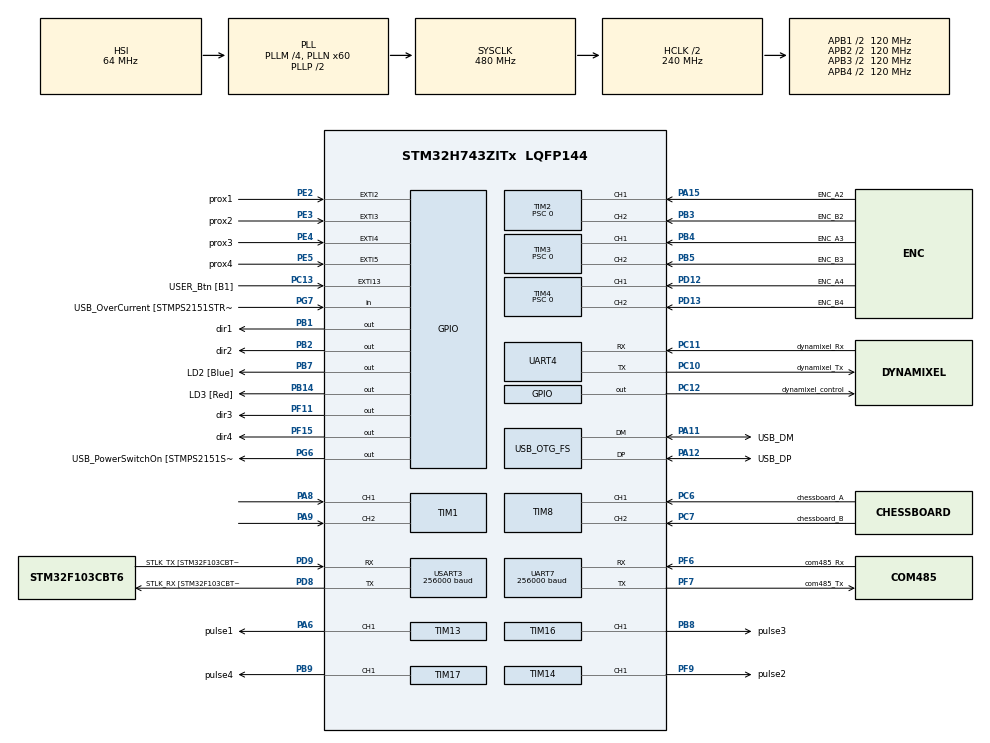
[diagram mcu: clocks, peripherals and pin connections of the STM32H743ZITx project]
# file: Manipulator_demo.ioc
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Dma.Request0=UART4_RX
Dma.Request1=UART4_TX
Dma.Request2=USART3_RX
Dma.Request3=USART3_TX
Dma.UART4_RX.0.Direction=DMA_PERIPH_TO_MEMORY
Dma.UART4_RX.0.EventEnable=DISABLE
Dma.UART4_RX.0.FIFOMode=DMA_FIFOMODE_DISABLE
Dma.UART4_RX.0.Instance=DMA1_Stream2
Dma.UART4_RX.0.MemDataAlignment=DMA_MDATAALIGN_BYTE
Dma.UART4_RX.0.MemInc=DMA_MINC_ENABLE
Dma.UART4_RX.0.Mode=DMA_CIRCULAR
Dma.UART4_RX.0.PeriphDataAlignment=DMA_PDATAALIGN_BYTE
Dma.UART4_RX.0.PeriphInc=DMA_PINC_DISABLE
Dma.UART4_RX.0.Polarity=HAL_DMAMUX_REQ_GEN_RISING
Dma.UART4_RX.0.Priority=DMA_PRIORITY_LOW
Dma.UART4_RX.0.RequestNumber=1
Dma.UART4_RX.0.SignalID=NONE
Dma.UART4_RX.0.SyncEnable=DISABLE
Dma.UART4_RX.0.SyncPolarity=HAL_DMAMUX_SYNC_NO_EVENT
Dma.UART4_RX.0.SyncRequestNumber=1
Dma.UART4_RX.0.SyncSignalID=NONE
Dma.UART4_TX.1.Direction=DMA_MEMORY_TO_PERIPH
Dma.UART4_TX.1.EventEnable=DISABLE
Dma.UART4_TX.1.FIFOMode=DMA_FIFOMODE_DISABLE
Dma.UART4_TX.1.Instance=DMA1_Stream3
Dma.UART4_TX.1.MemDataAlignment=DMA_MDATAALIGN_BYTE
Dma.UART4_TX.1.MemInc=DMA_MINC_ENABLE
Dma.UART4_TX.1.Mode=DMA_NORMAL
Dma.UART4_TX.1.PeriphDataAlignment=DMA_PDATAALIGN_BYTE
Dma.UART4_TX.1.PeriphInc=DMA_PINC_DISABLE
Dma.UART4_TX.1.Polarity=HAL_DMAMUX_REQ_GEN_RISING
Dma.UART4_TX.1.Priority=DMA_PRIORITY_LOW
Dma.UART4_TX.1.RequestNumber=1
Dma.UART4_TX.1.SignalID=NONE
Dma.UART4_TX.1.SyncEnable=DISABLE
Dma.UART4_TX.1.SyncPolarity=HAL_DMAMUX_SYNC_NO_EVENT
Dma.UART4_TX.1.SyncRequestNumber=1
Dma.UART4_TX.1.SyncSignalID=NONE
Dma.USART3_RX.2.Direction=DMA_PERIPH_TO_MEMORY
Dma.USART3_RX.2.EventEnable=DISABLE
Dma.USART3_RX.2.FIFOMode=DMA_FIFOMODE_DISABLE
Dma.USART3_RX.2.Instance=DMA1_Stream4
Dma.USART3_RX.2.MemDataAlignment=DMA_MDATAALIGN_BYTE
Dma.USART3_RX.2.MemInc=DMA_MINC_ENABLE
Dma.USART3_RX.2.Mode=DMA_CIRCULAR
Dma.USART3_RX.2.PeriphDataAlignment=DMA_PDATAALIGN_BYTE
Dma.USART3_RX.2.PeriphInc=DMA_PINC_DISABLE
Dma.USART3_RX.2.Polarity=HAL_DMAMUX_REQ_GEN_RISING
Dma.USART3_RX.2.Priority=DMA_PRIORITY_LOW
Dma.USART3_RX.2.RequestNumber=1
Dma.USART3_RX.2.SignalID=NONE
Dma.USART3_RX.2.SyncEnable=DISABLE
Dma.USART3_RX.2.SyncPolarity=HAL_DMAMUX_SYNC_NO_EVENT
Dma.USART3_RX.2.SyncRequestNumber=1
Dma.USART3_RX.2.SyncSignalID=NONE
Dma.USART3_TX.3.Direction=DMA_MEMORY_TO_PERIPH
Dma.USART3_TX.3.EventEnable=DISABLE
Dma.USART3_TX.3.FIFOMode=DMA_FIFOMODE_DISABLE
Dma.USART3_TX.3.Instance=DMA1_Stream5
Dma.USART3_TX.3.MemDataAlignment=DMA_MDATAALIGN_BYTE
Dma.USART3_TX.3.MemInc=DMA_MINC_ENABLE
Dma.USART3_TX.3.Mode=DMA_NORMAL
Dma.USART3_TX.3.PeriphDataAlignment=DMA_PDATAALIGN_BYTE
Dma.USART3_TX.3.PeriphInc=DMA_PINC_DISABLE
Dma.USART3_TX.3.Polarity=HAL_DMAMUX_REQ_GEN_RISING
Dma.USART3_TX.3.Priority=DMA_PRIORITY_LOW
Dma.USART3_TX.3.RequestNumber=1
Dma.USART3_TX.3.SignalID=NONE
Dma.USART3_TX.3.SyncEnable=DISABLE
Dma.USART3_TX.3.SyncPolarity=HAL_DMAMUX_SYNC_NO_EVENT
Dma.USART3_TX.3.SyncRequestNumber=1
Dma.USART3_TX.3.SyncSignalID=NONE
Mcu.Family=STM32H7
Mcu.Name=STM32H743ZITx
Mcu.Package=LQFP144
NVIC.DMA1_Stream2_IRQn=true\:0\:0\:false\:false\:true\:false\:true
NVIC.DMA1_Stream3_IRQn=true\:0\:0\:false\:false\:true\:false\:true
NVIC.DMA1_Stream4_IRQn=true\:0\:0\:false\:false\:true\:false\:true
NVIC.DMA1_Stream5_IRQn=true\:0\:0\:false\:false\:true\:false\:true
NVIC.EXTI2_IRQn=true\:0\:0\:false\:false\:true\:true\:true
NVIC.EXTI3_IRQn=true\:0\:0\:false\:false\:true\:true\:true
NVIC.EXTI4_IRQn=true\:0\:0\:false\:false\:true\:true\:true
NVIC.EXTI9_5_IRQn=true\:0\:0\:false\:false\:true\:true\:true
NVIC.PriorityGroup=NVIC_PRIORITYGROUP_4
NVIC.TIM6_DAC_IRQn=true\:0\:0\:false\:false\:true\:true\:true
NVIC.TIM7_IRQn=true\:0\:0\:false\:false\:true\:true\:true
NVIC.UART7_IRQn=true\:0\:0\:false\:false\:true\:true\:true
NVIC.USART3_IRQn=true\:0\:0\:false\:false\:true\:true\:true
PA10.GPIO_Label=USB_ID
PA10.Signal=USB_OTG_FS_ID
PA11.GPIO_Label=USB_DM
PA11.Mode=Device_Only
PA11.Signal=USB_OTG_FS_DM
PA12.GPIO_Label=USB_DP
PA12.Mode=Device_Only
PA12.Signal=USB_OTG_FS_DP
PA13\ (JTMS/SWDIO).Mode=Serial_Wire
PA13\ (JTMS/SWDIO).Signal=DEBUG_JTMS-SWDIO
PA14\ (JTCK/SWCLK).Mode=Serial_Wire
PA14\ (JTCK/SWCLK).Signal=DEBUG_JTCK-SWCLK
PA15\ (JTDI).GPIO_Label=ENC_A2
PA15\ (JTDI).Signal=S_TIM2_CH1
PA6.GPIO_Label=pulse1
PA6.Signal=S_TIM13_CH1
PA8.Signal=S_TIM1_CH1
PA9.Signal=S_TIM1_CH2
PB1.GPIO_Label=dir1
PB1.PinState=GPIO_PIN_RESET
PB1.Signal=GPIO_Output
PB14.GPIO_Label=LD3 [Red]
PB14.Signal=GPIO_Output
PB2.GPIO_Label=dir2
PB2.Signal=GPIO_Output
PB3\ (JTDO/TRACESWO).GPIO_Label=ENC_B2
PB3\ (JTDO/TRACESWO).Signal=S_TIM2_CH2
PB4\ (NJTRST).GPIO_Label=ENC_A3
PB4\ (NJTRST).Signal=S_TIM3_CH1
PB5.GPIO_Label=ENC_B3
PB5.Signal=S_TIM3_CH2
PB7.GPIO_Label=LD2 [Blue]
PB7.Signal=GPIO_Output
PB8.GPIO_Label=pulse3
PB8.Signal=S_TIM16_CH1
PB9.GPIO_Label=pulse4
PB9.Signal=S_TIM17_CH1
PC10.GPIO_Label=dynamixel_Tx
PC10.Mode=Asynchronous
PC10.Signal=UART4_TX
PC11.GPIO_Label=dynamixel_Rx
PC11.Mode=Asynchronous
PC11.Signal=UART4_RX
PC12.GPIO_Label=dynamixel_control
PC12.Signal=GPIO_Output
PC13.GPIO_Label=USER_Btn [B1]
PC13.Signal=GPXTI13
PC14-OSC32_IN\ (OSC32_IN).Mode=LSE-External-Oscillator
PC14-OSC32_IN\ (OSC32_IN).Signal=RCC_OSC32_IN
PC15-OSC32_OUT\ (OSC32_OUT).Mode=LSE-External-Oscillator
PC15-OSC32_OUT\ (OSC32_OUT).Signal=RCC_OSC32_OUT
PC6.GPIO_Label=chessboard_A
PC6.Signal=S_TIM8_CH1
PC7.GPIO_Label=chessboard_B
PC7.Signal=S_TIM8_CH2
PD12.GPIO_Label=ENC_A4
PD12.Signal=S_TIM4_CH1
PD13.GPIO_Label=ENC_B4
PD13.Signal=S_TIM4_CH2
PD8.GPIO_Label=STLK_RX [STM32F103CBT6_PA3]
PD8.Mode=Asynchronous
PD8.Signal=USART3_TX
PD9.GPIO_Label=STLK_TX [STM32F103CBT6_PA2]
PD9.Mode=Asynchronous
PD9.Signal=USART3_RX
PE2.GPIO_Label=prox1
PE2.GPIO_ModeDefaultEXTI=GPIO_MODE_IT_FALLING
PE2.GPIO_PuPd=GPIO_NOPULL
PE2.PinAttribute=Free
PE2.Signal=GPXTI2
PE3.GPIO_Label=prox2
PE3.GPIO_ModeDefaultEXTI=GPIO_MODE_IT_FALLING
PE3.GPIO_PuPd=GPIO_NOPULL
PE3.Signal=GPXTI3
PE4.GPIO_Label=prox3
PE4.GPIO_ModeDefaultEXTI=GPIO_MODE_IT_FALLING
PE4.GPIO_PuPd=GPIO_NOPULL
PE4.Signal=GPXTI4
PE5.GPIO_Label=prox4
PE5.GPIO_ModeDefaultEXTI=GPIO_MODE_IT_FALLING
PE5.GPIO_PuPd=GPIO_NOPULL
PE5.Signal=GPXTI5
PF11.GPIO_Label=dir3
PF11.Signal=GPIO_Output
PF15.GPIO_Label=dir4
PF15.Signal=GPIO_Output
PF6.GPIO_Label=com485_Rx
PF6.Mode=Asynchronous
PF6.Signal=UART7_RX
PF7.GPIO_Label=com485_Tx
PF7.Mode=Asynchronous
PF7.Signal=UART7_TX
PF9.GPIO_Label=pulse2
PF9.Signal=S_TIM14_CH1
PG6.GPIO_Label=USB_PowerSwitchOn [STMPS2151STR_EN]
PG6.Signal=GPIO_Output
PG7.GPIO_Label=USB_OverCurrent [STMPS2151STR_FAULT]
PG7.Signal=GPIO_Input
PH0-OSC_IN\ (PH0).GPIO_Label=MCO
PH0-OSC_IN\ (PH0).Mode=HSE-External-Clock-Source
PH0-OSC_IN\ (PH0).Signal=RCC_OSC_IN
ProjectManager.HeapSize=0x200
ProjectManager.StackSize=0x400
ProjectManager.TargetToolchain=STM32CubeIDE
RCC.48MHZClocksFreq_Value=24000000
RCC.ADCFreq_Value=160000000
RCC.AHBFreq_Value=216000000
RCC.APB1CLKDivider=RCC_HCLK_DIV4
RCC.APB1Freq_Value=120000000
RCC.APB1TimFreq_Value=108000000
RCC.APB2CLKDivider=RCC_HCLK_DIV2
RCC.APB2Freq_Value=120000000
RCC.APB2TimFreq_Value=216000000
RCC.APB3Freq_Value=120000000
RCC.APB4Freq_Value=120000000
RCC.CortexFreq_Value=480000000
RCC.D1PPRE=RCC_APB3_DIV2
RCC.D2PPRE1=RCC_APB1_DIV2
RCC.D2PPRE2=RCC_APB2_DIV2
RCC.D3PPRE=RCC_APB4_DIV2
RCC.DIVM1=4
RCC.DIVM2=4
RCC.DIVN1=60
RCC.DIVN2=60
RCC.DIVP2=6
RCC.DIVQ1=6
RCC.DIVQ2=6
RCC.HCLKFreq_Value=240000000
RCC.HPRE=RCC_HCLK_DIV2
RCC.HSE_VALUE=48000000
RCC.HSI_VALUE=64000000
RCC.PLL2FRACN=0
RCC.PLL3FRACN=0
RCC.PLL3_VCI_Range-AdvancedSettings=RCC_PLL3VCIRANGE_3
RCC.PLLFRACN=0
RCC.PLLM=25
RCC.PLLMUL=RCC_PLL_MUL9
RCC.PLLN=432
RCC.PLLQ=9
RCC.PRESCALERUSB=RCC_USBCLKSOURCE_PLL_DIV1_5
RCC.SYSCLKFreq_VALUE=480000000
RCC.SYSCLKSource=RCC_SYSCLKSOURCE_PLLCLK
RCC.SYSCLKSourceVirtual=RCC_SYSCLKSOURCE_PLLCLK
RCC.USBCLockSelection=RCC_USBCLKSOURCE_HSI48
RCC.USBFreq_Value=48000000
RCC.VCOOutputFreq_Value=432000000
SH.S_TIM13_CH1.0=TIM13_CH1,PWM Generation1 CH1
SH.S_TIM14_CH1.0=TIM14_CH1,PWM Generation1 CH1
SH.S_TIM16_CH1.0=TIM16_CH1,PWM Generation1 CH1
SH.S_TIM17_CH1.0=TIM17_CH1,PWM Generation1 CH1
SH.S_TIM1_CH1.0=TIM1_CH1,Encoder_Interface
SH.S_TIM1_CH2.0=TIM1_CH2,Encoder_Interface
SH.S_TIM2_CH1.0=TIM2_CH1,Encoder_Interface
SH.S_TIM2_CH2.0=TIM2_CH2,Encoder_Interface
SH.S_TIM3_CH1.0=TIM3_CH1,Encoder_Interface
SH.S_TIM3_CH2.0=TIM3_CH2,Encoder_Interface
SH.S_TIM4_CH1.0=TIM4_CH1,Encoder_Interface
SH.S_TIM4_CH2.0=TIM4_CH2,Encoder_Interface
SH.S_TIM8_CH1.0=TIM8_CH1,Encoder_Interface
SH.S_TIM8_CH2.0=TIM8_CH2,Encoder_Interface
TIM1.EncoderMode=TIM_ENCODERMODE_TI12
TIM1.IC1Filter=15
TIM1.IC2Filter=15
TIM13.AutoReloadPreload=TIM_AUTORELOAD_PRELOAD_ENABLE
TIM13.Channel=TIM_CHANNEL_1
TIM13.Prescaler=119
TIM14.AutoReloadPreload=TIM_AUTORELOAD_PRELOAD_ENABLE
TIM14.Channel=TIM_CHANNEL_1
TIM14.Prescaler=119
TIM16.AutoReloadPreload=TIM_AUTORELOAD_PRELOAD_ENABLE
TIM16.Channel=TIM_CHANNEL_1
TIM16.Prescaler=119
TIM17.AutoReloadPreload=TIM_AUTORELOAD_PRELOAD_ENABLE
TIM17.Channel=TIM_CHANNEL_1
TIM17.Prescaler=119
TIM2.EncoderMode=TIM_ENCODERMODE_TI12
TIM2.IC1Filter=15
TIM2.IC2Filter=15
TIM2.Period=65535
TIM2.Prescaler=0
TIM3.CounterMode=TIM_COUNTERMODE_UP
TIM3.EncoderMode=TIM_ENCODERMODE_TI12
TIM3.IC1Filter=15
TIM3.IC1Polarity=TIM_ICPOLARITY_RISING
TIM3.IC2Filter=15
TIM3.IC2Polarity=TIM_ICPOLARITY_RISING
TIM3.Prescaler=0
TIM4.EncoderMode=TIM_ENCODERMODE_TI12
TIM4.IC1Filter=15
TIM4.IC2Filter=15
TIM4.Period=65535
TIM4.Prescaler=0
TIM6.Period=1000
TIM6.Prescaler=119
TIM7.Period=65535
TIM7.Prescaler=480
TIM8.EncoderMode=TIM_ENCODERMODE_TI12
TIM8.IC1Filter=15
TIM8.IC2Filter=15
UART7.BaudRate=256000
USART3.BaudRate=256000
USART3.DataInvertParam=ADVFEATURE_DATAINV_DISABLE
USART3.FIFOMode=FIFOMODE_DISABLE
USART3.MSBFirstParam=ADVFEATURE_MSBFIRST_DISABLE
USART3.VirtualMode-Asynchronous=VM_ASYNC
USB_OTG_FS.VirtualMode=Device_Only
VP_TIM13_VS_ClockSourceINT.Mode=Enable_Timer
VP_TIM14_VS_ClockSourceINT.Mode=Enable_Timer
VP_TIM16_VS_ClockSourceINT.Mode=Enable_Timer
VP_TIM17_VS_ClockSourceINT.Mode=Enable_Timer
VP_TIM6_VS_ClockSourceINT.Mode=Enable_Timer
VP_TIM7_VS_ClockSourceINT.Mode=Enable_Timer
board=NUCLEO-H743ZI

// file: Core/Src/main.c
/* USER CODE BEGIN Header */
/**
  ******************************************************************************
  * @file           : main.c
  * @brief          : Main program body
  ******************************************************************************
  * @attention
  *
  * <h2><center>&copy; Copyright (c) 2022 STMicroelectronics.
  * All rights reserved.</center></h2>
  *
  * This software component is licensed by ST under BSD 3-Clause license,
  * the "License"; You may not use this file except in compliance with the
  * License. You may obtain a copy of the License at:
  *                        opensource.org/licenses/BSD-3-Clause
  *
  ******************************************************************************
  */
/* USER CODE END Header */
#include "main.h"
#include "dma.h"
#include "tim.h"
#include "usart.h"
#include "usb_otg.h"
#include "gpio.h"

/* USER CODE BEGIN Includes */
#include <math.h>
#include "mhainw_steppermotor.h"
#include "mhainw_amt10.h"
#include "mhainw_protocol.h"
#include "mhainw_control.h"
#include "mhainw_kinematics.h"
#include "mhainw_kalmanfilter.h"
#include "mhainw_trajectory.h"

/* USER CODE END Includes */

/* USER CODE BEGIN PD */

//5000 0.001
#define kalman_Q 500 //2500
#define kalman_R 0.0001

#define PULSEPERROUND                 8192
//#define CONVERT_CHESSBOARD_PULSETORAD 0
#define CONVERT_CHESSBOARD_PULSETORAD (PI * 2.0) / 2000.0

#define JOINT1_DEGTOPULSE            PULSEPERROUND / 360
#define JOINT2_DEGTOPULSE            PULSEPERROUND / 360
#define JOINT3_MMTOPULSE             (PULSEPERROUND * 2.5625) / 8
#define JOINT4_DEGTOPULSE            (PULSEPERROUND * 4.0) / 360

#define JOINT1_RADTOPULSE            PULSEPERROUND / (PI * 2.0)
#define JOINT2_RADTOPULSE            PULSEPERROUND / (PI * 2.0)
#define JOINT4_RADTOPULSE            (PULSEPERROUND * 4.0) / (PI * 2.0)

#define J1_OFFSETTOHOMECONFIGURATION 1686 //1663
#define J2_OFFSETTOHOMECONFIGURATION -3571 //-3464
#define J3_OFFSETTOHOMECONFIGURATION 0
#define J4_OFFSETTOHOMECONFIGURATION 6394 //5932

/* USER CODE END PD */

/* USER CODE BEGIN PV */

Protocol user;

Stepper_motor motors[4];

Encoder encoders[4];
Encoder chessboardenc;
int32_t chessboardpos;
float chessboardrad;

float positive_jointlimit[4] = {J1_POSITIVE_JOINTLIMIT, J2_POSITIVE_JOINTLIMIT, J3_UP_JOINTLIMIT, J4_POSITIVE_JOINTLIMIT};
float negative_jointlimit[4] = {J1_NEGATIVE_JOINTLIMIT, J2_NEGATIVE_JOINTLIMIT, J3_DOWN_JOINTLIMIT, J4_NEGATIVE_JOINTLIMIT};
uint8_t joint = 0;
float radtopulse[4] = {JOINT1_RADTOPULSE,JOINT2_RADTOPULSE,JOINT3_MMTOPULSE,JOINT4_RADTOPULSE};

float target_position[4] = { 0 };
float jointstate[4]; //real time value from encoder
float setpoint[4];   //target point in encoder unit(pulse)
float taskconfig[4] = {0};  //now position in task space
float jointconfig[4] = {0}; //now position in configuration space
float tasksetpoint[4]; //target point in task space
float jointreadysetpoint[4] = {1.04,-1.04,0,0}; //target point in configuration space
float jointsetpoint[4] = {0}; //target point in configuration space
float jointsubsetpoint[4] = {0};
float jointvelocitysetpoint[4] = {0}; //target velocity in configuration space
float controloutput[4];
float perv_setpoint[4];

float temp[4];
int16_t goal;

uint8_t numberofdata = 0;

uint32_t timestamp = 0;
uint32_t read_timestamp = 0;
uint32_t feedback_timestamp = 0;
Controller position_jointcontroller[4];
Kalmanfilter kalmanjoint[4];
Trajectory quinticTrajectory[4];

float offset_x = 0;
float offset_y = 0;

uint8_t Proximity_state[4];

uint8_t setpoint_test_indx[4] = {0};
float setpoint_test[2][4] = {{0, (J2_POSITIVE_JOINTLIMIT)/2, 0, 0},
		                     {0,(J2_NEGATIVE_JOINTLIMIT)/2, 0, 0}};

uint8_t robot_feedback = 0;
uint32_t init_t = 0;

uint8_t init_kalman = 1;
uint8_t control_flag = 0;
uint8_t grip = 0;
uint8_t ungrip = 0;

int num = 0;
int map_indx = 1;
float x,y;
/* USER CODE END PV */

void SystemClock_Config(void);
/* USER CODE BEGIN PFP */
void mhainw_robot_sethome();
void mhainw_robot_j3sethome();
void mhainw_command_statemachine(Protocol *uart);
void jogcatesian(Protocol *uart,float *jointsetpoint);
void jogjoint(Protocol *uart,float *jointsetpoint);
void movejoint(Protocol *uart,float *jointsetpoint);
void movecartesian(Protocol *uart,float *jointsetpoint);

/* USER CODE END PFP */

int main(void)
{

  /* MCU Configuration--------------------------------------------------------*/

  /* Reset of all peripherals, Initializes the Flash interface and the Systick. */
	HAL_Init();

  /* Configure the system clock */
  SystemClock_Config();

  /* Initialize all configured peripherals */
  MX_GPIO_Init();
  MX_DMA_Init();
  MX_USART3_UART_Init();
  MX_USB_OTG_FS_PCD_Init();
  MX_TIM3_Init();
  MX_TIM4_Init();
  MX_TIM13_Init();
  MX_TIM14_Init();
  MX_TIM16_Init();
  MX_TIM17_Init();
  MX_UART4_Init();
  MX_TIM6_Init();
  MX_TIM7_Init();
  MX_TIM2_Init();
  MX_UART7_Init();
  MX_TIM8_Init();
  MX_TIM1_Init();
  /* USER CODE BEGIN 2 */

  mhainw_protocol_init(&user, &huart3);

  mhainw_stepper_init(&motors[0], &htim13, TIM_CHANNEL_1 , dir1_GPIO_Port, dir1_Pin);
  mhainw_stepper_init(&motors[1], &htim16, TIM_CHANNEL_1 , dir3_GPIO_Port, dir3_Pin);
  mhainw_stepper_init(&motors[2], &htim14, TIM_CHANNEL_1 , dir2_GPIO_Port, dir2_Pin);
  mhainw_stepper_init(&motors[3], &htim17, TIM_CHANNEL_1 , dir4_GPIO_Port, dir4_Pin);

  mhainw_amt10_init(&encoders[0], &htim1);
  mhainw_amt10_init(&encoders[1], &htim2);
  mhainw_amt10_init(&encoders[2], &htim3);
  mhainw_amt10_init(&encoders[3], &htim4);
  mhainw_amt10_init(&chessboardenc, &htim8);

  //initial controller for case-cade control
  mhainw_control_init(&position_jointcontroller[0],2000,0.07,0,600,600); //kp = 20 0 0
  mhainw_control_init(&position_jointcontroller[1],3000,0.05,1500,1000,1000);  //kp=50 0.07 0
  mhainw_control_init(&position_jointcontroller[2],2000,0.005,0,1500,2500); // 5 0 0
  mhainw_control_init(&position_jointcontroller[3],3000,0.07,0,300,600); // 3000 0.07 0

  mhainw_kalmanfilter_init(&kalmanjoint[0],0,0,0,1,0,1,1000,0.0001);
  mhainw_kalmanfilter_init(&kalmanjoint[1],0,-2.5,0,1,0,1,3000,0.0001);
  mhainw_kalmanfilter_init(&kalmanjoint[2],0,0,0,0,0,0.0147,kalman_Q,kalman_R);
  mhainw_kalmanfilter_init(&kalmanjoint[3],0,0,0,0,0,0.0147,kalman_Q,kalman_R);

  mhainw_trajectory_init(&quinticTrajectory[0],0.0005);
  mhainw_trajectory_init(&quinticTrajectory[1],0.0005);
  mhainw_trajectory_init(&quinticTrajectory[2],0.0005);
  mhainw_trajectory_init(&quinticTrajectory[3],0.0005);

  /* USER CODE END 2 */

  /* Infinite loop */
  /* USER CODE BEGIN WHILE */

  //manipulator set zero
  mhainw_robot_sethome();

  //initial kalman filter
  if(init_kalman){
	  control_flag = 0;
	  init_t = HAL_GetTick();
	  while(init_kalman){
		  if(!(HAL_GetTick() - init_t >= 1000)){
			  for(joint =0;joint<4;joint++){
				//read encoder
				jointstate[joint] += mhainw_amt10_unwrap(&encoders[joint]);
				//convert pulse to rad
				jointconfig[joint] =  jointstate[joint] / radtopulse[joint];
				mhainw_kalmanfilter_updatekalman(&kalmanjoint[joint],jointconfig[joint]);
			  }
		  } else{
			  init_kalman = 0;
			  control_flag = 1;
		  }
	  }
  }
  mhainw_trajectory_generatetraj(quinticTrajectory,jointconfig,jointsetpoint);

  /* test trarj
  for(int i=0;i<4;i++){
	  jointsetpoint[i] = setpoint_test[0][i];
  }
  mhainw_trajectory_generatetraj(quinticTrajectory,jointconfig,jointsetpoint);
 */

 /*test mapping position
  chessboardtemptochessboard(num,&x,&y);
  chessboardtorobot(x,y,0,tasksetpoint);
  IPK(tasksetpoint,-1,jointsetpoint);
  jointsetpoint[2] = 0;
  mhainw_trajectory_generatetraj(quinticTrajectory,jointconfig,jointsetpoint);
  */

  while (1)
  {
    /* USER CODE END WHILE */

    /* USER CODE BEGIN 3 */

//	  /*test mapping posi
	  if(num > 0){
			pointinchessboardtomanipulator(num,chessboardrad,jointsetpoint);
			jointsetpoint[2] = -100;
			mhainw_trajectory_generatetraj(quinticTrajectory,jointconfig,jointsetpoint);
			num = 0;
		}
//	  */

	  //update robot position 4000 hz
	  if(HAL_GetTick() - read_timestamp >= 0.25){
		  read_timestamp = HAL_GetTick();
		  for(int joint=0;joint<4;joint++){
			//read encoder
			jointstate[joint] += mhainw_amt10_unwrap(&encoders[joint]);
			//convert pulse to rad
			jointconfig[joint] =  jointstate[joint] / radtopulse[joint];
			//update kalman x1,x2
			mhainw_kalmanfilter_updatekalman(&kalmanjoint[joint],jointconfig[joint]);
			FPK(jointconfig,taskconfig);
		  }
		  chessboardpos += mhainw_amt10_unwrap(&chessboardenc);
		  chessboardrad = chessboardpos * CONVERT_CHESSBOARD_PULSETORAD;
	  }

	  if(control_flag ==1 ){

		  //update control loop 2000 hz
		  if(HAL_GetTick() - timestamp >= 0.5){
			timestamp = HAL_GetTick();
			for(joint =0;joint<4;joint++){
				//update trajectory
				if(quinticTrajectory[joint].havetraj == 1){
//					quinticTrajectory[joint].t = (HAL_GetTick() - quinticTrajectory[joint].initial_time) / 1000;
					if(quinticTrajectory[joint].t <= quinticTrajectory[joint].Tk){
						mhainw_trajectory_updatetraj(&quinticTrajectory[joint]); // q da ddq viapoint
						jointsetpoint[joint] = quinticTrajectory[joint].q;
						jointvelocitysetpoint[joint] = quinticTrajectory[joint].dq;
					}
					else{
						quinticTrajectory[joint].havetraj = 0;
						user.goal_reach[joint] = 1;
						memcpy(perv_setpoint,jointsetpoint,sizeof(jointsetpoint));

						/* terst traj
						for(int i=0;i<4;i++){
							setpoint_test_indx[i] = (setpoint_test_indx[i] + 1) % 2;
							jointsetpoint[i] = setpoint_test[setpoint_test_indx[i]][i];
						}
						mhainw_trajectory_generatetraj(quinticTrajectory,jointconfig,jointsetpoint);
						 */

						/* map test
						num = (num + 1) % 65;
						pointinchessboardtomanipulator(num,chessboardrad,jointsetpoint);
						jointsetpoint[2] = -100;
						mhainw_trajectory_generatetraj(quinticTrajectory,jointconfig,jointsetpoint);
						*/

					}
				}

				//check joint limit
				if(jointsetpoint[joint] >= positive_jointlimit[joint]){
					jointsetpoint[joint] = positive_jointlimit[joint];
				}
			    if(jointsetpoint[joint] <= negative_jointlimit[joint]){
				  jointsetpoint[joint] = negative_jointlimit[joint];
			    }

			    //control
			    if(quinticTrajectory[joint].havetraj == 1){
				//update position control
				mhainw_control_controllerupdate(&position_jointcontroller[joint], jointsetpoint[joint], jointconfig[joint]);

				controloutput[joint] = (position_jointcontroller[joint].output + jointvelocitysetpoint[joint]) - kalmanjoint[joint].x2;
				mhainw_stepper_setspeed(&motors[joint], controloutput[joint]);
			    }

			    else {
			    	mhainw_control_controllerupdate(&position_jointcontroller[joint], jointsetpoint[joint], jointconfig[joint]);
					mhainw_stepper_setspeed(&motors[joint], position_jointcontroller[joint].output);
			    }

			}

		  }
		  if(user.package_verify){
			  mhainw_command_statemachine(&user);
			}
	  }

  }
  /* USER CODE END 3 */
}

void SystemClock_Config(void)
{
  RCC_OscInitTypeDef RCC_OscInitStruct = {0};
  RCC_ClkInitTypeDef RCC_ClkInitStruct = {0};

  /** Supply configuration update enable
  */
  HAL_PWREx_ConfigSupply(PWR_LDO_SUPPLY);
  /** Configure the main internal regulator output voltage
  */
  __HAL_PWR_VOLTAGESCALING_CONFIG(PWR_REGULATOR_VOLTAGE_SCALE0);

  while(!__HAL_PWR_GET_FLAG(PWR_FLAG_VOSRDY)) {}
  /** Initializes the RCC Oscillators according to the specified parameters
  * in the RCC_OscInitTypeDef structure.
  */
  RCC_OscInitStruct.OscillatorType = RCC_OSCILLATORTYPE_HSI48|RCC_OSCILLATORTYPE_HSI;
  RCC_OscInitStruct.HSIState = RCC_HSI_DIV1;
  RCC_OscInitStruct.HSICalibrationValue = RCC_HSICALIBRATION_DEFAULT;
  RCC_OscInitStruct.HSI48State = RCC_HSI48_ON;
  RCC_OscInitStruct.PLL.PLLState = RCC_PLL_ON;
  RCC_OscInitStruct.PLL.PLLSource = RCC_PLLSOURCE_HSI;
  RCC_OscInitStruct.PLL.PLLM = 4;
  RCC_OscInitStruct.PLL.PLLN = 60;
  RCC_OscInitStruct.PLL.PLLP = 2;
  RCC_OscInitStruct.PLL.PLLQ = 6;
  RCC_OscInitStruct.PLL.PLLR = 2;
  RCC_OscInitStruct.PLL.PLLRGE = RCC_PLL1VCIRANGE_3;
  RCC_OscInitStruct.PLL.PLLVCOSEL = RCC_PLL1VCOWIDE;
  RCC_OscInitStruct.PLL.PLLFRACN = 0;
  if (HAL_RCC_OscConfig(&RCC_OscInitStruct) != HAL_OK)
  {
    Error_Handler();
  }
  /** Initializes the CPU, AHB and APB buses clocks
  */
  RCC_ClkInitStruct.ClockType = RCC_CLOCKTYPE_HCLK|RCC_CLOCKTYPE_SYSCLK
                              |RCC_CLOCKTYPE_PCLK1|RCC_CLOCKTYPE_PCLK2
                              |RCC_CLOCKTYPE_D3PCLK1|RCC_CLOCKTYPE_D1PCLK1;
  RCC_ClkInitStruct.SYSCLKSource = RCC_SYSCLKSOURCE_PLLCLK;
  RCC_ClkInitStruct.SYSCLKDivider = RCC_SYSCLK_DIV1;
  RCC_ClkInitStruct.AHBCLKDivider = RCC_HCLK_DIV2;
  RCC_ClkInitStruct.APB3CLKDivider = RCC_APB3_DIV2;
  RCC_ClkInitStruct.APB1CLKDivider = RCC_APB1_DIV2;
  RCC_ClkInitStruct.APB2CLKDivider = RCC_APB2_DIV2;
  RCC_ClkInitStruct.APB4CLKDivider = RCC_APB4_DIV2;

  if (HAL_RCC_ClockConfig(&RCC_ClkInitStruct, FLASH_LATENCY_4) != HAL_OK)
  {
    Error_Handler();
  }
}

/* USER CODE BEGIN 4 */
void mhainw_robot_sethome(){
	uint8_t sethome[3] = {0};
	float jointoffset[4] = {J1_OFFSETTOHOMECONFIGURATION,J2_OFFSETTOHOMECONFIGURATION,J3_OFFSETTOHOMECONFIGURATION,J4_OFFSETTOHOMECONFIGURATION};
	//offset
	mhainw_stepper_setspeed(&motors[0], -125);
	mhainw_stepper_setspeed(&motors[1], 300);
	mhainw_stepper_setspeed(&motors[2], -1000);
	mhainw_stepper_setspeed(&motors[3], -1000);
	HAL_Delay(500);
	mhainw_stepper_setspeed(&motors[0], 0);
	mhainw_stepper_setspeed(&motors[1], 0);
	mhainw_stepper_setspeed(&motors[2], 0);
	mhainw_stepper_setspeed(&motors[3], 0);
	HAL_Delay(500);

	//state 1 set joint 4
	while(Proximity_state[3] != 1){
		mhainw_stepper_setspeed(&motors[3], 300);
	}
	mhainw_stepper_setspeed(&motors[3], 0);

	while(Proximity_state[2] != 1){
			mhainw_stepper_setspeed(&motors[2], 1000);
	}
	mhainw_stepper_setspeed(&motors[2], 0);

	//state 2 : move to home position
	while(sethome[0] != 1 || sethome[1] !=1 ){

		if(Proximity_state[0] == 1){
			mhainw_stepper_setspeed(&motors[0], 0);
			sethome[0] = 1;
		} else{
			mhainw_stepper_setspeed(&motors[0], 125);
		}
		if(Proximity_state[1] == 1){
			mhainw_stepper_setspeed(&motors[1], 0);
			sethome[1] = 1;
		} else{
			mhainw_stepper_setspeed(&motors[1], -250);
		}
	}
	HAL_Delay(1000);

	//state 3 : set current position and offset home configuration
	htim1.Instance->CNT = 0;
	htim2.Instance->CNT = 0;
	htim3.Instance->CNT = 0;
	htim4.Instance->CNT = 0;
	HAL_Delay(500);

	for(int i=0;i<4;i++){
		jointstate[i] = jointoffset[i];
		jointconfig[i] = jointstate[i] / radtopulse[i];
		jointsetpoint[i] = jointreadysetpoint[i];
	}

}

void mhainw_robot_j3sethome(){
	Proximity_state[2] = 0;
	mhainw_stepper_setspeed(&motors[2], -1000);
	HAL_Delay(500);
	mhainw_stepper_setspeed(&motors[2], 0);
	HAL_Delay(500);
	while(Proximity_state[2] != 1){
			mhainw_stepper_setspeed(&motors[2], 500);
	}
	mhainw_stepper_setspeed(&motors[2], 0);
	HAL_Delay(1000);
	htim3.Instance->CNT = 0;
}

void mhainw_command_statemachine(Protocol *uart){
	static uint8_t set = 1;
	static uint8_t inst;
	static uint8_t state = MHAINW_WAIT;

	//task move
	static uint8_t end_path = 0;
	static float path_setpoint[24];
	static uint8_t action;
	static int8_t path_no = -1;
	float z_down = -115.0;

	if(set){
		state = uart->inst;
		set=0;
	}
	switch(state){
		case MHAINW_SETHOME:
			UARTsentACK(uart, MHAINW_SETHOME_ACK);
			for(int i=0;i<4;i++){
				jointsetpoint[i] = jointreadysetpoint[i];
			}
			state = MHAINW_TRAJGEN;
			break;

		case MHAINW_JOG_CATESIAN:
			UARTsentACK(uart, MHAINW_JOG_ACK);
			jogcatesian(uart,jointsetpoint);
			inst = MHAINW_JOG_ACK;
			state = MHAINW_TRAJGEN;
			break;

		case MHAINW_JOG_JOINT:
			UARTsentACK(uart, MHAINW_JOG_ACK);
			jogjoint(uart,jointsetpoint);
			inst = MHAINW_JOG_ACK;
			state = MHAINW_TRAJGEN;
			break;

		case MAHINW_MOVE_CATESIAN :
			UARTsentACK(uart, MHAINW_MOVE_ACK);
			movecartesian(uart,jointsetpoint);
			inst = MHAINW_MOVE_ACK;
			state = MHAINW_TRAJGEN;
			break;

		case MHAINW_MOVE_JOINT:
			UARTsentACK(uart, MHAINW_MOVE_ACK);
			movejoint(uart,jointsetpoint);
			inst = MHAINW_MOVE_ACK;
			state = MHAINW_TRAJGEN;
			break;

		case MHAINW_MOVE_TASK:
			UARTsentACK(uart, MHAINW_TASKMOVE_ACK);

			static float temp_to[4];
			static float temp_from[4];
			static int8_t from_rook,from_king,to_rook,to_king;
			action = uart->data[2];

			if(action == 1){
				pointinchessboardtomanipulator(uart->data[0],chessboardrad,temp_from);
				pointinchessboardtomanipulator(uart->data[1],chessboardrad,temp_to);
			}
			else if(action == 2){
				pointinchessboardtomanipulator(uart->data[1],chessboardrad,temp_from);
				memcpy(temp_to,jointreadysetpoint,sizeof(jointreadysetpoint));
			}
			else if(action == 3){
				from_king = uart->data[0];
				from_rook = uart->data[1];
				if(from_king > from_rook){
					to_rook = from_king - 1;
					to_king = from_king - 2;
				} else if(from_rook > from_king){
					to_rook = from_king + 1;
					to_king = from_king + 2;
				}
				pointinchessboardtomanipulator(from_king,chessboardrad,temp_from);
				pointinchessboardtomanipulator(to_king,chessboardrad,temp_to);
			}
			else if(action == 0x40 || action == 0x41){
				pointinchessboardtomanipulator(uart->data[0],chessboardrad,temp_from);
				pointinchessboardtomanipulator(uart->data[1],chessboardrad,temp_to);
			}

			state = MHAINW_MOVE_SETPOINTGEN;

		case MHAINW_MOVE_SETPOINTGEN:

			memcpy(&path_setpoint[0],temp_from,sizeof(temp_from));
			memcpy(&path_setpoint[4],temp_from,sizeof(temp_from));
			memcpy(&path_setpoint[8],temp_from,sizeof(temp_from));
			memcpy(&path_setpoint[12],temp_to,sizeof(temp_to));
			memcpy(&path_setpoint[16],temp_to,sizeof(temp_to));
			memcpy(&path_setpoint[20],temp_to,sizeof(temp_to));
			path_setpoint[2] = 0;
			path_setpoint[6] = z_down;
			path_setpoint[10] = 0;
			path_setpoint[14] = 0;
			path_setpoint[18] = z_down + 10;
			path_setpoint[22] = 0;

			if(action == 2){
				path_setpoint[18] = -10;
				pointinchessboardtomanipulator(uart->data[0],chessboardrad,temp_from);
				pointinchessboardtomanipulator(uart->data[1],chessboardrad,temp_to);
			}
			else if(action == 3){
				pointinchessboardtomanipulator(from_rook,chessboardrad,temp_from);
				pointinchessboardtomanipulator(to_rook,chessboardrad,temp_to);
			}
			else if(action == 0x40){
				pointinchessboardtomanipulator(uart->data[1] + 8 ,chessboardrad,temp_from);
				memcpy(temp_to,jointreadysetpoint,sizeof(jointreadysetpoint));
			}
			else if(action == 0x41){
				pointinchessboardtomanipulator(uart->data[1] - 8,0,temp_from);
				memcpy(temp_to,jointreadysetpoint,sizeof(jointreadysetpoint));
			}

			state = MHAINW_MOVE_SETPOINTUPDATE;

		case MHAINW_MOVE_SETPOINTUPDATE:
			path_no = (path_no + 1)%7;
			if(path_no == 6){
				end_path = 1;
				if(action == 1){
					memcpy(jointsetpoint,jointreadysetpoint,sizeof(jointsetpoint));
				}
			} else{
				memcpy(jointsetpoint,&path_setpoint[path_no * 4],sizeof(jointsetpoint));
			}
			memcpy(perv_setpoint,jointsetpoint,sizeof(jointsetpoint));
			state = MHAINW_TRAJGEN;
			inst = MHAINW_TASKMOVE_ACK;
			break;

		case MHAINW_POSITION_CHESSBOARD:
			UARTsentFeedback(uart, MHAINW_POSITION_ACK,&chessboardrad,1);
			state = MHAINW_WAIT;
			set = 1;
			uart->package_verify = 0;
			break;

		case MHAINW_POSITION_MANIPULATOR:
			UARTsentFeedback(uart, MHAINW_POSITION_ACK,jointconfig,4);
			state = MHAINW_WAIT;
			set = 1;
			uart->package_verify = 0;
			break;

		case MHAINW_CHESSBOARD_SETZERO:
			chessboardenc.Timehandle->Instance->CNT = 0;
			UARTsentFeedback(uart, MHAINW_POSITION_ACK,&chessboardrad,1);
			break;

		case MHAINW_WAIT:
			if(uart->goal_reach[0] == 1 && uart->goal_reach[1] == 1 && uart->goal_reach[2] == 1 && uart->goal_reach[3] == 1){
				uart->package_verify = 0;

				if(inst == MHAINW_JOG_ACK){
					UARTsentFeedback(uart, MHAINW_JOG_ACK,jointconfig,4);
				} else if(inst  == MHAINW_MOVE_ACK){
					UARTsentFeedback(uart, MHAINW_MOVE_ACK,jointconfig,4);
				} else if(inst == MHAINW_TASKMOVE_ACK){
					state = MHAINW_MOVE_SETPOINTUPDATE;
					uart->package_verify = 1;
					if(path_no == 1){ //grip
						UARTsentGripper(&user,MHAINW_GRIPPER_GRIP);
						HAL_Delay(1300);
					} else if(path_no == 4){ //ungrip
						UARTsentGripper(&user,MHAINW_GRIPPER_UNGRIP);
						HAL_Delay(1300);
					}
					if(end_path){
						if(action != 1){
							state = MHAINW_MOVE_SETPOINTGEN;
							end_path =0;
							path_no = -1;
							action = 1;
						} else {
							mhainw_robot_j3sethome();
							end_path = 0;
							path_no = -1;
							set=1;
							inst = 0;
							UARTsentFeedback(uart, MHAINW_TASKMOVE_ACK,jointconfig,4);
							uart->package_verify = 0;
						}
					}
				}
				//.....
				if(inst != MHAINW_TASKMOVE_ACK){
					set=1;
					inst = 0;
				}
			}

			break;
	  }
	if(state == MHAINW_TRAJGEN){
		for(int i=0;i<4;i++){
			uart->goal_reach[i] = 0;
			mhainw_trajectory_generatetraj(quinticTrajectory,jointconfig,jointsetpoint);
		}
		state = MHAINW_WAIT;
	}
}

void jogcatesian(Protocol *uart,float *jointsetpoint){
	uint8_t axis = uart->data[0];
	float step = uart->data[1];
	float movingstep[4] = {0}; //{ Rz X Y Z}
	float dq[4] = {0};

	if(axis == 8){ //x
		movingstep[1] = step;
	} else if(axis == 4){ //y
		movingstep[2] = step;
	} else if(axis == 2){ //z
		movingstep[3] = step;
	} else if(axis == 1){  //rz
		movingstep[0] = step * DEGTORAD;
	}

	IVK(jointsetpoint,movingstep,dq);

	for(int i=0;i<4;i++){
		jointsetpoint[i] += dq[i];
	}
}

void jogjoint(Protocol *uart,float *jointsetpoint){
	uint8_t axis = uart->data[0];
	float step = (float)(uart->data[1]) * DEGTORAD;

	if(axis == 8){
		jointsetpoint[0] += step;
	} else if(axis == 4){
		jointsetpoint[1] += step;
	} else if(axis == 2){
		jointsetpoint[2] += -1 * uart->data[1];
	} else if(axis == 1){
		jointsetpoint[3] += step;
	}

}

void movejoint(Protocol *uart,float *jointsetpoint){
	if(uart->data[0] == 1){
		jointsetpoint[0] += (int16_t)((uart->data[1] << 8) | (uint8_t)uart->data[2]) * DEGTORAD;
		jointsetpoint[1] += (int16_t)((uart->data[3] << 8) | (uint8_t)uart->data[4]) * DEGTORAD;
		jointsetpoint[2] += -1.0 * (int16_t)((uart->data[5] << 8) | (uint8_t)uart->data[6]);
		jointsetpoint[3] += (int16_t)((uart->data[7] << 8) | (uint8_t)uart->data[8]) * DEGTORAD;

	} else{
		jointsetpoint[0] = (int16_t)((uart->data[1] << 8) | (uint8_t)uart->data[2]) * DEGTORAD;
		jointsetpoint[1] = (int16_t)((uart->data[3] << 8) | (uint8_t)uart->data[4]) * DEGTORAD;
		jointsetpoint[2] = -1.0 * (int16_t)((uart->data[5] << 8) | (uint8_t)uart->data[6]);
		jointsetpoint[3] = (int16_t)((uart->data[7] << 8) | (uint8_t)uart->data[8]) * DEGTORAD;
	}
}
void movecartesian(Protocol *uart,float *jointsetpoint){
	float taskspace_setpoint[4] = {0};
	float temp_jointsetpoint[4] = {0};
	float temp_taskconfig[4] = {0};
	float temp_homeconfiguration[4] = {J1_OFFSETTOHOMECONFIGURATION, J2_OFFSETTOHOMECONFIGURATION, J3_OFFSETTOHOMECONFIGURATION, J4_OFFSETTOHOMECONFIGURATION};
	float temp_jointconfig[4] = {jointsetpoint[0],jointsetpoint[1],jointsetpoint[2],jointsetpoint[3]};
	uint8_t move_ref = uart->data[0] & 0x01;
	robot_feedback = uart->data[0] & 0x02;
	if(move_ref == 1){
		FPK(temp_jointconfig,temp_taskconfig);
	} else {
		FPK(temp_homeconfiguration,temp_taskconfig);
	}

	taskspace_setpoint[1] = temp_taskconfig[1] + (int16_t)((uart->data[1] << 8) | (uint8_t)uart->data[2]);
	taskspace_setpoint[2] = temp_taskconfig[2] + (int16_t)((uart->data[3] << 8) | (uint8_t)uart->data[4]);
	taskspace_setpoint[3] = temp_taskconfig[3] + (int16_t)((uart->data[5] << 8) | (uint8_t)uart->data[6]);
	taskspace_setpoint[0] = temp_taskconfig[0] + (int16_t)((uart->data[7] << 8) | (uint8_t)uart->data[8]);
	IPK(taskspace_setpoint,-1,temp_jointsetpoint);

	for(int i=0;i<4;i++){
		jointsetpoint[i] = temp_jointsetpoint[i];
	}
}

/* USER CODE END 4 */

void Error_Handler(void)
{
  __disable_irq();
  while (1)
  {
  }
}

/************************ (C) COPYRIGHT STMicroelectronics *****END OF FILE****/
